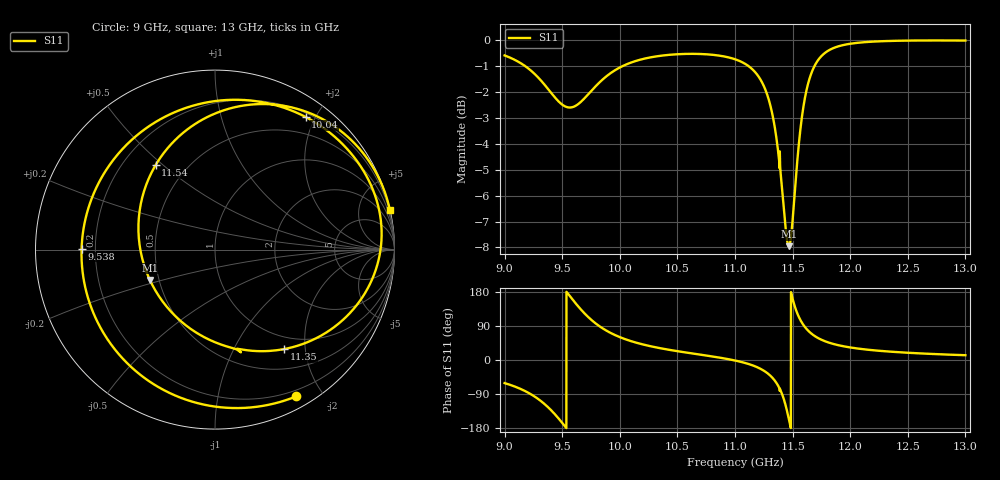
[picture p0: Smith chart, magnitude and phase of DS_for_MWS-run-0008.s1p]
! TOUCHSTONE file generated by CST DESIGN STUDIO
! Date and time: Tue Feb  4 13:54:31 2025
! Project name: C:\Work\MatlabApps\UnitCellOptimizationMatlab\CST\unitcell.cst
! Tree item: Tasks\Sweep1\SPara1\S-Parameters
! Header version: 2024
! Port assignment regex: !\s*Touchstone port\s*([0-9]+)\s*=\s*(CST MWS port|CST DES external port|CST DES block port)\s*(.+)\s* \(\"(.*)\"\)(\s*mode\s*([0-9]+))?.*
! Touchstone port assignment:
! Touchstone port 1 = CST DES external port 1 ("")
# GHz S MA R 50
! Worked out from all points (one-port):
!   4001 points, 9 GHz to 13 GHz, reference 50 ohm
!   lowest |S11| = -7.9 dB at 11.47 GHz (marker M1), VSWR 2.34, Z = 22.2 - j8.93 ohm
!   |S11| at or under -10 dB: nowhere
!   S11 on the Smith chart (normalised r, x): 9 GHz: 0.13, -1.69; 9.538 GHz: 0.15, +0.00; 10.04 GHz: 0.25, +1.87; 11.35 GHz: 0.80, -1.62; 11.54 GHz: 0.34, +0.47; 13 GHz: 0.05, +9.02
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9  0.9348 -60.9
9.149  0.9006 -77.8
9.298  0.8445 -104.4
9.398  0.7946 -130.8
9.5  0.7512 -165.9
9.538  0.7433 179.6
9.648  0.7558 138.2
9.742  0.7937 108.8
9.85  0.8396 83.7
10  0.886 60.4
10.04  0.8949 55.7
10.238  0.9241 38.3
10.5  0.9398 23.3
11  0.9191 -1.3
11.218  0.842 -22.7
11.288  0.7747 -36.4
11.347  0.6757 -55.1
11.409  0.5148 -90.4
11.467  0.4004 -155.1
11.5  0.4493 161.6
11.538  0.5754 125.1
11.574  0.6918 102.1
11.613  0.7863 84.8
11.728  0.9199 56.8
11.841  0.963 43.4
12  0.9846 33.1
12.5  0.9986 19.1
13  0.9988 12.6
